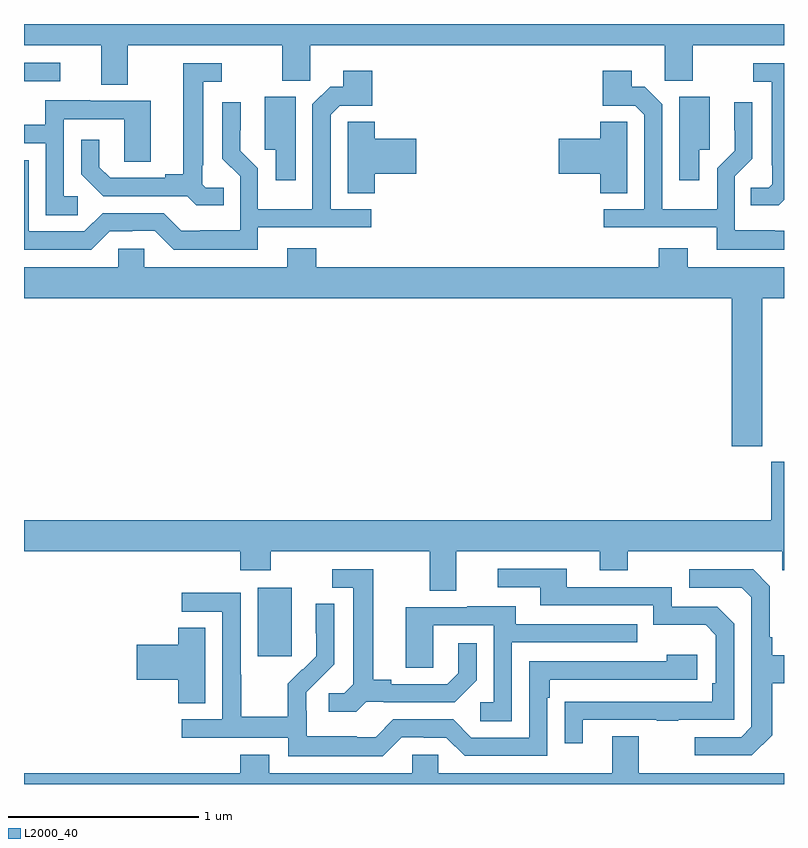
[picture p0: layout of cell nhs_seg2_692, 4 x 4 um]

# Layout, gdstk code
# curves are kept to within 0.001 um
import gdstk
lib = gdstk.Library(unit=1e-6, precision=1e-09)
def R(c, l, rs):  # rectangles x0, y0, x1, y1
    for r in rs: c.add(gdstk.rectangle(r[:2], r[2:], *l))
def P(c, l, *ps):  # polygons
    for p in ps: c.add(gdstk.Polygon(p, *l))
L2000_40 = (2000, 40)

nhs_seg2_692 = lib.new_cell('nhs_seg2_692')
R(nhs_seg2_692, L2000_40, [(148.229,592.473,148.408,592.834), (147,595.5,147.19,595.596)])
P(nhs_seg2_692, L2000_40, [(147.547,595.688),(148.36,595.688),(148.36,595.501),(148.506,595.501),(148.506,595.688),(150.372,595.688),(150.372,595.501),(150.519,595.501),(150.519,595.688),(151,595.688),(151,595.8),(147,595.8),(147,595.688),(147.407,595.688),(147.407,595.48),(147.547,595.48)],
  [(151,594.874),(151,595.593),(150.837,595.593),(150.837,595.497),(150.935,595.497),(150.935,595.057),(150.939,595.057),(150.939,594.957),(150.921,594.939),(150.826,594.939),(150.826,594.847),(150.972,594.847)],
  [(148.052,594.939),(147.957,594.939),(147.939,594.957),(147.939,595.057),(147.943,595.057),(147.943,595.497),(148.042,595.497),(148.042,595.593),(147.839,595.593),(147.839,595.01),(147.743,595.01),(147.743,594.99),(147.454,594.99),(147.397,595.047),(147.397,595.192),(147.3,595.192),(147.3,595.01),(147.416,594.894),(147.858,594.894),(147.906,594.847),(148.052,594.847)],
  [(151,594.711),(150.95,594.711),(150.95,594.715),(150.741,594.715),(150.741,594.999),(150.834,595.092),(150.834,595.387),(150.738,595.387),(150.738,595.24),(150.74,595.24),(150.74,595.134),(150.648,595.042),(150.648,594.826),(150.36,594.826),(150.36,595.377),(150.267,595.47),(150.199,595.47),(150.199,595.555),(150.047,595.555),(150.047,595.371),(150.216,595.371),(150.264,595.323),(150.264,594.825),(150.051,594.825),(150.051,594.729),(150.647,594.729),(150.647,594.611),(151,594.611)],
  [(148.231,594.729),(148.828,594.729),(148.828,594.825),(148.614,594.825),(148.614,595.323),(148.662,595.371),(148.832,595.371),(148.832,595.555),(148.679,595.555),(148.679,595.47),(148.611,595.47),(148.518,595.377),(148.518,594.826),(148.23,594.826),(148.23,595.042),(148.139,595.134),(148.14,595.387),(148.044,595.387),(148.044,595.092),(148.137,594.999),(148.137,594.715),(147.928,594.715),(147.928,594.711),(147.828,594.711),(147.735,594.804),(147.414,594.804),(147.318,594.708),(147.024,594.708),(147.024,595.084),(147,595.084),(147,594.612),(147.354,594.612),(147.45,594.708),(147.57,594.708),(147.57,594.711),(147.687,594.711),(147.787,594.611),(148.231,594.611)],
  [(148.429,595.416),(148.268,595.416),(148.268,595.137),(148.325,595.137),(148.325,594.978),(148.429,594.978)],
  [(150.553,595.137),(150.61,595.137),(150.61,595.416),(150.449,595.416),(150.449,594.978),(150.553,594.978)],
  [(147.283,594.894),(147.21,594.894),(147.21,595.299),(147.528,595.299),(147.528,595.075),(147.667,595.075),(147.667,595.395),(147.349,595.395),(147.349,595.399),(147.113,595.399),(147.113,595.27),(147,595.27),(147,595.173),(147.114,595.173),(147.114,594.793),(147.283,594.793)],
  [(148.847,595.013),(149.065,595.013),(149.065,595.196),(148.847,595.196),(148.847,595.286),(148.704,595.286),(148.704,595.178),(148.703,595.178),(148.703,594.91),(148.847,594.91)],
  [(150.175,595.178),(150.174,595.178),(150.174,595.286),(150.032,595.286),(150.032,595.196),(149.814,595.196),(149.814,595.013),(150.032,595.013),(150.032,594.91),(150.175,594.91)],
  [(150.885,594.356),(151,594.356),(151,594.52),(150.493,594.52),(150.493,594.619),(150.341,594.619),(150.341,594.52),(148.538,594.52),(148.538,594.619),(148.385,594.619),(148.385,594.52),(147.633,594.52),(147.633,594.618),(147.495,594.618),(147.495,594.52),(147,594.52),(147,594.356),(150.725,594.356),(150.725,593.577),(150.885,593.577)],
  [(149.275,593.024),(150.029,593.024),(150.029,592.925),(150.177,592.925),(150.177,593.024),(150.99,593.024),(150.99,592.925),(151,592.925),(151,593.497),(150.932,593.497),(150.932,593.188),(147,593.188),(147,593.024),(148.139,593.024),(148.139,592.925),(148.299,592.925),(148.299,593.024),(149.135,593.024),(149.135,592.816),(149.275,592.816)],
  [(149.941,592.137),(150.331,592.137),(150.331,592.132),(150.443,592.132),(150.443,592.137),(150.738,592.137),(150.738,592.644),(150.648,592.734),(150.408,592.734),(150.408,592.836),(149.857,592.836),(149.857,592.932),(149.493,592.932),(149.493,592.836),(149.717,592.836),(149.717,592.74),(150.312,592.74),(150.312,592.637),(150.589,592.637),(150.642,592.584),(150.642,592.33),(150.622,592.33),(150.622,592.233),(149.845,592.232),(149.845,592.014),(149.941,592.014)],
  [(150.937,592.057),(150.937,592.33),(151,592.33),(151,592.477),(150.937,592.477),(150.937,592.573),(150.924,592.573),(150.924,592.842),(150.837,592.929),(150.501,592.929),(150.501,592.833),(150.777,592.833),(150.828,592.782),(150.828,592.101),(150.774,592.047),(150.531,592.047),(150.531,591.951),(150.831,591.951)],
  [(148.8,592.233),(148.894,592.233),(148.894,592.23),(149.266,592.23),(149.382,592.346),(149.382,592.54),(149.285,592.54),(149.285,592.383),(149.228,592.326),(148.933,592.326),(148.933,592.349),(148.837,592.349),(148.837,592.929),(148.623,592.929),(148.623,592.833),(148.733,592.833),(148.733,592.325),(148.686,592.278),(148.605,592.278),(148.605,592.181),(148.748,592.181)],
  [(148.989,592.047),(149.105,592.047),(149.105,592.044),(149.223,592.044),(149.319,591.948),(149.754,591.948),(149.754,592.253),(149.767,592.253),(149.767,592.35),(150.544,592.35),(150.544,592.48),(150.383,592.48),(150.383,592.446),(149.658,592.446),(149.658,592.044),(149.355,592.044),(149.259,592.14),(148.944,592.14),(148.851,592.047),(148.751,592.047),(148.751,592.051),(148.488,592.051),(148.488,592.185),(148.486,592.185),(148.486,592.282),(148.632,592.43),(148.632,592.748),(148.536,592.748),(148.536,592.594),(148.538,592.594),(148.538,592.472),(148.467,592.401),(148.464,592.404),(148.387,592.327),(148.387,592.153),(148.143,592.153),(148.143,592.376),(148.14,592.376),(148.14,592.806),(147.831,592.806),(147.831,592.707),(148.044,592.707),(148.044,592.14),(147.831,592.14),(147.831,592.044),(148.392,592.044),(148.392,591.947),(148.889,591.947)],
  [(149.568,592.545),(150.227,592.545),(150.227,592.641),(149.587,592.641),(149.587,592.735),(149.333,592.735),(149.333,592.731),(149.009,592.731),(149.009,592.411),(149.154,592.411),(149.154,592.635),(149.472,592.635),(149.472,592.23),(149.4,592.23),(149.4,592.129),(149.568,592.129)],
  [(147.955,592.622),(147.812,592.622),(147.812,592.532),(147.594,592.532),(147.594,592.349),(147.812,592.349),(147.812,592.225),(147.955,592.225)],
  [(151,591.856),(150.235,591.856),(150.235,592.051),(150.095,592.051),(150.095,591.856),(149.181,591.856),(149.181,591.954),(149.043,591.954),(149.043,591.856),(148.291,591.856),(148.291,591.955),(148.139,591.955),(148.139,591.856),(147,591.856),(147,591.8),(151,591.8)])

lib.write_gds('nhs_seg2_692.gds')
